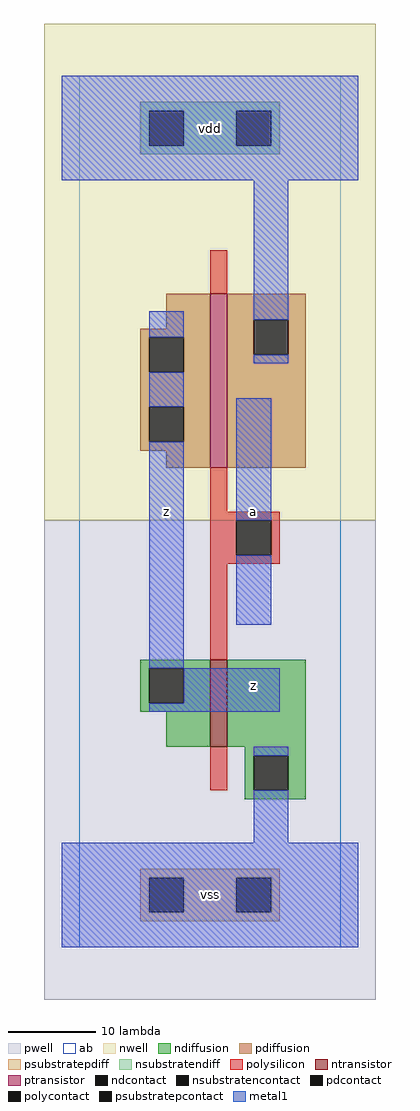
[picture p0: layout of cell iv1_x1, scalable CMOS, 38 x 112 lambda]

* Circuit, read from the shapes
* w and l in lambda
.subckt iv1_x1 a vdd vss z
M1 vss a z vss nfet w=10 l=2
M2 vdd a z vdd pfet w=20 l=2
.ends

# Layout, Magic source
magic
tech scmos
<< ab >>
rect 0 0 30 100
<< pwell >>
rect -4 -6 34 49
<< nwell >>
rect -4 49 34 106
<< polysilicon >>
rect 15 75 17 80
rect 15 50 17 55
rect 15 49 23 50
rect 15 45 18 49
rect 22 45 23 49
rect 15 44 23 45
rect 15 33 17 44
rect 15 18 17 23
<< ndiffusion >>
rect 7 32 15 33
rect 7 28 8 32
rect 12 28 15 32
rect 7 27 15 28
rect 10 23 15 27
rect 17 23 26 33
rect 19 22 26 23
rect 19 18 20 22
rect 24 18 26 22
rect 19 17 26 18
<< pdiffusion >>
rect 10 71 15 75
rect 7 70 15 71
rect 7 66 8 70
rect 12 66 15 70
rect 7 62 15 66
rect 7 58 8 62
rect 12 58 15 62
rect 7 57 15 58
rect 10 55 15 57
rect 17 72 26 75
rect 17 68 20 72
rect 24 68 26 72
rect 17 55 26 68
<< metal1 >>
rect -2 88 32 100
rect 8 70 12 73
rect 20 72 24 88
rect 20 67 24 68
rect 8 62 12 66
rect 8 32 12 58
rect 18 49 22 63
rect 18 37 22 45
rect 12 28 23 32
rect 8 27 23 28
rect 20 22 24 23
rect 20 12 24 18
rect -2 0 32 12
<< ntransistor >>
rect 15 23 17 33
<< ptransistor >>
rect 15 55 17 75
<< polycontact >>
rect 18 45 22 49
<< ndcontact >>
rect 8 28 12 32
rect 20 18 24 22
<< pdcontact >>
rect 8 66 12 70
rect 8 58 12 62
rect 20 68 24 72
<< psubstratepcontact >>
rect 8 4 12 8
rect 18 4 22 8
<< nsubstratencontact >>
rect 8 92 12 96
rect 18 92 22 96
<< psubstratepdiff >>
rect 7 8 23 9
rect 7 4 8 8
rect 12 4 18 8
rect 22 4 23 8
rect 7 3 23 4
<< nsubstratendiff >>
rect 7 96 23 97
rect 7 92 8 96
rect 12 92 18 96
rect 22 92 23 96
rect 7 91 23 92
<< labels >>
rlabel metal1 10 50 10 50 6 z
rlabel metal1 10 50 10 50 6 z
rlabel metal1 15 6 15 6 6 vss
rlabel metal1 15 6 15 6 6 vss
rlabel metal1 20 30 20 30 6 z
rlabel metal1 20 30 20 30 6 z
rlabel metal1 20 50 20 50 6 a
rlabel metal1 20 50 20 50 6 a
rlabel metal1 15 94 15 94 6 vdd
rlabel metal1 15 94 15 94 6 vdd
<< end >>
